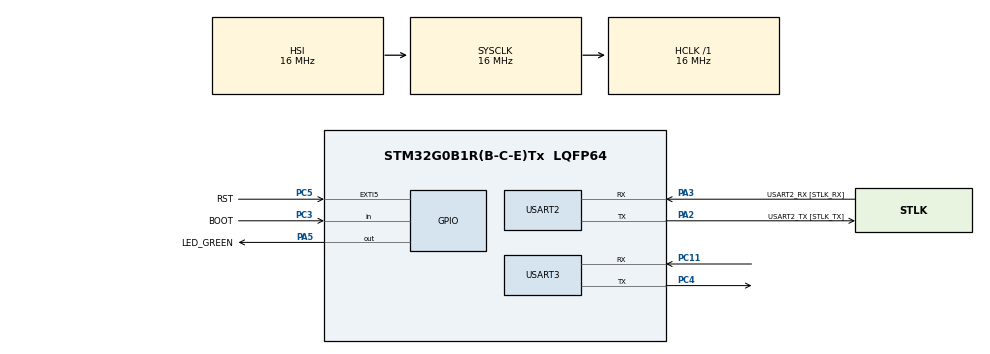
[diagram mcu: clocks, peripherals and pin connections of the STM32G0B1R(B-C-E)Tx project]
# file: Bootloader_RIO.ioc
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Mcu.Family=STM32G0
Mcu.Name=STM32G0B1R(B-C-E)Tx
Mcu.Package=LQFP64
NVIC.EXTI4_15_IRQn=true\:0\:0\:false\:false\:true\:true\:true\:true
NVIC.TIM1_BRK_UP_TRG_COM_IRQn=true\:0\:0\:false\:false\:true\:true\:true\:true
NVIC.TIM1_CC_IRQn=true\:0\:0\:false\:false\:true\:true\:true\:true
NVIC.USART2_LPUART2_IRQn=true\:0\:0\:false\:false\:true\:true\:true\:true
NVIC.USART3_4_5_6_LPUART1_IRQn=true\:0\:0\:false\:false\:true\:true\:true\:true
PA13.GPIO_Label=TMS
PA13.Mode=Serial_Wire
PA13.Signal=SYS_SWDIO
PA14-BOOT0.GPIO_Label=TCK
PA14-BOOT0.Mode=Serial_Wire
PA14-BOOT0.Signal=SYS_SWCLK
PA2.GPIO_Label=USART2_TX [STLK_TX]
PA2.Mode=Asynchronous
PA2.Signal=USART2_TX
PA3.GPIO_Label=USART2_RX [STLK_RX]
PA3.Mode=Asynchronous
PA3.Signal=USART2_RX
PA5.GPIO_Label=LED_GREEN
PA5.GPIO_Speed=GPIO_SPEED_FREQ_HIGH
PA5.Signal=GPIO_Output
PC11.Mode=Asynchronous
PC11.Signal=USART3_RX
PC13.Mode=SYS_WakeUp1
PC13.Signal=SYS_WKUP2
PC14-OSC32_IN\ (PC14).Mode=LSE-External-Oscillator
PC14-OSC32_IN\ (PC14).Signal=RCC_OSC32_IN
PC15-OSC32_OUT\ (PC15).Mode=LSE-External-Oscillator
PC15-OSC32_OUT\ (PC15).Signal=RCC_OSC32_OUT
PC3.GPIO_Label=BOOT
PC3.GPIO_PuPd=GPIO_PULLUP
PC3.Signal=GPIO_Input
PC4.Mode=Asynchronous
PC4.Signal=USART3_TX
PC5.GPIO_Label=RST
PC5.GPIO_ModeDefaultEXTI=GPIO_MODE_IT_FALLING
PC5.Signal=GPXTI5
PF0-OSC_IN\ (PF0).GPIO_Label=MCO
PF0-OSC_IN\ (PF0).Mode=HSE-External-Clock-Source
PF0-OSC_IN\ (PF0).Signal=RCC_OSC_IN
ProjectManager.HeapSize=0x200
ProjectManager.StackSize=0x400
ProjectManager.TargetToolchain=STM32CubeIDE
RCC.AHBFreq_Value=16000000
RCC.CortexFreq_Value=16000000
RCC.EXTERNAL_CLOCK_VALUE=12288000
RCC.HCLKFreq_Value=16000000
RCC.HSE_VALUE=8000000
RCC.HSI48_VALUE=48000000
RCC.HSI_VALUE=16000000
RCC.SYSCLKFreq_VALUE=16000000
RCC.USBFreq_Value=48000000
RCC.VCOOutputFreq_Value=128000000
TIM1.Period=500
TIM1.Prescaler=16000-1
USART2.VirtualMode-Asynchronous=VM_ASYNC
USART3.VirtualMode-Asynchronous=VM_ASYNC
VP_TIM1_VS_ClockSourceINT.Mode=Internal
board=NUCLEO-G0B1RE

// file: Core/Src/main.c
/* USER CODE BEGIN Header */
/**
  ******************************************************************************
  * @file           : main.c
  * @brief          : Main program body
  ******************************************************************************
  * @attention
  *
  * Copyright (c) 2023 STMicroelectronics.
  * All rights reserved.
  *
  * This software is licensed under terms that can be found in the LICENSE file
  * in the root directory of this software component.
  * If no LICENSE file comes with this software, it is provided AS-IS.
  *
  ******************************************************************************
  */
/* USER CODE END Header */
#include "main.h"

/* USER CODE BEGIN Includes */
#include <stdio.h>
#include <stdbool.h>
#include <stdlib.h>
#include <string.h>
#include <math.h>
#include "retarget.h"
#include <inttypes.h>
#include "memoryMap.h"
#include "image.h"
#include "my_memory.h"

#define loader_rom  (0x0800C800)
#define app_rom     (0x08011800)

#define REV32(x) ( ((x&0xff000000)>>24) | (((x&0x00ff0000)<<8)>>16) | (((x&0x0000ff00)>>8)<<16) | ((x&0x000000ff) << 24) )
#define REV16(y) (REV32((uint32_t) y)>>16)

/* USER CODE END Includes */

TIM_HandleTypeDef htim1;

UART_HandleTypeDef huart2;
UART_HandleTypeDef huart3;

void SystemClock_Config(void);
static void MX_GPIO_Init(void);
static void MX_USART2_UART_Init(void);
static void MX_USART3_UART_Init(void);
static void MX_TIM1_Init(void);

/* USER CODE BEGIN 0 */

uint64_t * RDAddr = NULL;
uint64_t double_word = 0;
bool dato_recivido=false, bootloader = false;
uint32_t counter = 0, pages = 0,offset = 0, n_bytes=0,rows = 0;
uint8_t rx_buff[520]={0x00};//
uint32_t FW_SIZE = 0, CRC_16 = 0, index_page = 0;
uint16_t crc = 0,crc_temp = 0;
uint16_t a = 0, boot = 0,timer_flag=0;
uint32_t crc_part = 0;

#define STRINGIFY(x) #x
#define ADD_QUOTES(y) STRINGIFY(y)

void HAL_UARTEx_RxEventCallback(UART_HandleTypeDef *huart, uint16_t Size)
{
	  HAL_UARTEx_ReceiveToIdle_IT(&huart3, rx_buff, sizeof rx_buff);
	  //memcpy(message,rx_buff,4);
	  dato_recivido = true;
	  //counter++;
}

static const uint16_t crc16Table[] = {
  0x0000, 0x1189, 0x2312, 0x329b, 0x4624, 0x57ad, 0x6536, 0x74bf,
  0x8c48, 0x9dc1, 0xaf5a, 0xbed3, 0xca6c, 0xdbe5, 0xe97e, 0xf8f7,
  0x1081, 0x0108, 0x3393, 0x221a, 0x56a5, 0x472c, 0x75b7, 0x643e,
  0x9cc9, 0x8d40, 0xbfdb, 0xae52, 0xdaed, 0xcb64, 0xf9ff, 0xe876,
  0x2102, 0x308b, 0x0210, 0x1399, 0x6726, 0x76af, 0x4434, 0x55bd,
  0xad4a, 0xbcc3, 0x8e58, 0x9fd1, 0xeb6e, 0xfae7, 0xc87c, 0xd9f5,
  0x3183, 0x200a, 0x1291, 0x0318, 0x77a7, 0x662e, 0x54b5, 0x453c,
  0xbdcb, 0xac42, 0x9ed9, 0x8f50, 0xfbef, 0xea66, 0xd8fd, 0xc974,
  0x4204, 0x538d, 0x6116, 0x709f, 0x0420, 0x15a9, 0x2732, 0x36bb,
  0xce4c, 0xdfc5, 0xed5e, 0xfcd7, 0x8868, 0x99e1, 0xab7a, 0xbaf3,
  0x5285, 0x430c, 0x7197, 0x601e, 0x14a1, 0x0528, 0x37b3, 0x263a,
  0xdecd, 0xcf44, 0xfddf, 0xec56, 0x98e9, 0x8960, 0xbbfb, 0xaa72,
  0x6306, 0x728f, 0x4014, 0x519d, 0x2522, 0x34ab, 0x0630, 0x17b9,
  0xef4e, 0xfec7, 0xcc5c, 0xddd5, 0xa96a, 0xb8e3, 0x8a78, 0x9bf1,
  0x7387, 0x620e, 0x5095, 0x411c, 0x35a3, 0x242a, 0x16b1, 0x0738,
  0xffcf, 0xee46, 0xdcdd, 0xcd54, 0xb9eb, 0xa862, 0x9af9, 0x8b70,
  0x8408, 0x9581, 0xa71a, 0xb693, 0xc22c, 0xd3a5, 0xe13e, 0xf0b7,
  0x0840, 0x19c9, 0x2b52, 0x3adb, 0x4e64, 0x5fed, 0x6d76, 0x7cff,
  0x9489, 0x8500, 0xb79b, 0xa612, 0xd2ad, 0xc324, 0xf1bf, 0xe036,
  0x18c1, 0x0948, 0x3bd3, 0x2a5a, 0x5ee5, 0x4f6c, 0x7df7, 0x6c7e,
  0xa50a, 0xb483, 0x8618, 0x9791, 0xe32e, 0xf2a7, 0xc03c, 0xd1b5,
  0x2942, 0x38cb, 0x0a50, 0x1bd9, 0x6f66, 0x7eef, 0x4c74, 0x5dfd,
  0xb58b, 0xa402, 0x9699, 0x8710, 0xf3af, 0xe226, 0xd0bd, 0xc134,
  0x39c3, 0x284a, 0x1ad1, 0x0b58, 0x7fe7, 0x6e6e, 0x5cf5, 0x4d7c,
  0xc60c, 0xd785, 0xe51e, 0xf497, 0x8028, 0x91a1, 0xa33a, 0xb2b3,
  0x4a44, 0x5bcd, 0x6956, 0x78df, 0x0c60, 0x1de9, 0x2f72, 0x3efb,
  0xd68d, 0xc704, 0xf59f, 0xe416, 0x90a9, 0x8120, 0xb3bb, 0xa232,
  0x5ac5, 0x4b4c, 0x79d7, 0x685e, 0x1ce1, 0x0d68, 0x3ff3, 0x2e7a,
  0xe70e, 0xf687, 0xc41c, 0xd595, 0xa12a, 0xb0a3, 0x8238, 0x93b1,
  0x6b46, 0x7acf, 0x4854, 0x59dd, 0x2d62, 0x3ceb, 0x0e70, 0x1ff9,
  0xf78f, 0xe606, 0xd49d, 0xc514, 0xb1ab, 0xa022, 0x92b9, 0x8330,
  0x7bc7, 0x6a4e, 0x58d5, 0x495c, 0x3de3, 0x2c6a, 0x1ef1, 0x0f78
};

uint16_t CRC16_X25(const void * data, uint16_t sizeOfData, uint16_t startCrc)
{
	  const uint8_t * dataPtr = (const uint8_t *) data;

	  startCrc = startCrc ^ 0xffff;

	  while (sizeOfData--) {
	    startCrc = crc16Table[(startCrc ^ *dataPtr++) & 0xFF] ^ (startCrc >> 8);
	  }

	  return (startCrc ^ 0xffff);
}

void HAL_GPIO_EXTI_Falling_Callback(uint16_t GPIO_Pin)
{
	  if(GPIO_Pin == RST_Pin)
	  {
			HAL_NVIC_SystemReset(); //resetea el uC
	  }// End LTC interrup
}

uint32_t write(uint8_t *data,uint32_t begin)
{
	uint32_t end = begin+64;// return the address to next 512 bytes
	uint32_t _index;
	uint16_t k = 0;
	HAL_FLASH_Unlock();
	for(uint32_t i = begin; i<end; i++)// 64*8 = 512 bytes
	{
	  _index = 8*i;
	  memset(&double_word,0xFF,8);
	  memcpy(&double_word,&data[k],8);
	  HAL_FLASH_Program(FLASH_TYPEPROGRAM_DOUBLEWORD,loader_rom+_index,double_word);
	  k+=8;
	}
	HAL_FLASH_Lock();
	return end;
}

void clear_rom(uint32_t bank,uint32_t page,uint32_t nbpages)
{
	  //clear nbpages, starting with page
	  uint32_t page_error = 0;
	  FLASH_EraseInitTypeDef EraseInitStruct;
	  EraseInitStruct.TypeErase= FLASH_TYPEERASE_PAGES;// works with page
	  EraseInitStruct.Banks = bank;
	  EraseInitStruct.Page = page;// start page
	  EraseInitStruct.NbPages= nbpages; // end page

	  HAL_FLASH_Unlock();
	  HAL_FLASHEx_Erase(&EraseInitStruct,&page_error);
	  HAL_FLASH_Lock();
}

void print_double_word(uint32_t Address,uint64_t *doubleword)
{
	uint8_t *ptr = (uint8_t*)doubleword;
	  	  printf("\r Address: %08lX, Data:  ",Address);
	  	  for(uint8_t k = 0; k < 8; k++)
	  		  printf("%02X",*(ptr++));
	  	  printf("|\r\r\n");
}

uint32_t clone_rom(uint32_t Firmware_zise)
{
	uint32_t rows = Firmware_zise/8;
	uint32_t offset = Firmware_zise%8;
	uint32_t _index = 0;
	HAL_FLASH_Unlock();
    for(uint32_t i = 0; i<=rows-1; i++)// 12288 /8 -1 = =rows,   11532/8 =
    {
  	  _index = 8*i;
  	  RDAddr = (uint64_t *)(loader_rom + _index);
  	  memset(&double_word,0xFF,8);
  	  memcpy(&double_word,RDAddr,8);
  	  HAL_FLASH_Program(FLASH_TYPEPROGRAM_DOUBLEWORD,app_rom+_index,double_word);
  	  crc_temp = CRC16_X25(RDAddr, 8, crc_temp);
	  //printf(" \r crc parts_app_rom: %04X \n",crc_temp);
	  //print_double_word(__loader_rom_start__+_index,&double_word);
    }
    if(offset!=0)
    {
    	memset(&double_word,0xFF,8);
		_index+= 8;
		RDAddr = (uint64_t *)(loader_rom + _index);
		memset(&double_word,0xFF,8);
		memcpy(&double_word,RDAddr,offset);
		HAL_FLASH_Program(FLASH_TYPEPROGRAM_DOUBLEWORD,app_rom+_index,double_word);
		crc_temp = CRC16_X25(&double_word,offset, crc_temp);
		//printf(" \r crc parts_app_rom: %04X \n",crc_temp);
		//print_double_word(__loader_rom_start__+_index,&double_word);
    }
    HAL_FLASH_Lock();

    if(crc_temp == CRC_16)
   		return 0;
    else
    	return 1;
}

void wait(void)
{
	 while(dato_recivido == false)
	 {
		 printf("\r waiting... \r\n");
		 HAL_Delay(100);
	 }
}

uint32_t update_firmware (void)
{
	 int err = 0;

	 HAL_UART_Transmit(&huart3,"FZ", sizeof("FZ"),500);// begin
	 printf("\r Send FZ ... \r\n");
	 wait();
	 dato_recivido = false;

	memcpy(&FW_SIZE,&rx_buff[0],4);
	memcpy(&CRC_16,&rx_buff[4],4);
	FW_SIZE = REV32(FW_SIZE);
	CRC_16 = REV32(CRC_16);
	pages = (uint32_t)(FW_SIZE/512);
	n_bytes = 512*pages;
	offset = FW_SIZE - n_bytes;
	printf(" \r fw_size: %lX \n",FW_SIZE);
	printf(" \r crc_app: %lX \n",CRC_16);
	printf(" \r pages: %ld \n",pages);
	printf(" \r n_bytes: %ld \n",n_bytes);
	printf(" \r offset: %ld \n",offset);
	HAL_UART_Transmit(&huart3,"OK", sizeof("OK"),500);
	memset(rx_buff,'\0',sizeof(rx_buff));
	wait();
	 dato_recivido = false;

	for(int i =0; i<pages; i++)
	{
		memcpy(&index_page,&rx_buff[0],4);
		memcpy(&crc_part,&rx_buff[4],4);
		index_page = REV32(index_page);
		crc_part = REV32(crc_part);
		printf(" \r index: %lX \n",index_page);
		printf(" \r crc_part: %lX \n",crc_part);
		crc = CRC16_X25(&rx_buff[8], 512, crc);
		if(crc == crc_part)
		{
			a = write(&rx_buff[8],a);
			printf(" \r crc: %X \n",crc);
			HAL_UART_Transmit(&huart3,"OK", sizeof("OK"),500);
			memset(rx_buff,'\0',sizeof(rx_buff));
			wait();
			dato_recivido = false;
			err = 0;
		}
		else
		{
			err = 1;
			break;
		}

	}// end for
	if(err != 1)
	{
		printf(" \r --------------Last Page ----------- \n");
		memcpy(&index_page,&rx_buff[0],4);
		memcpy(&crc_part,&rx_buff[4],4);
		index_page = REV32(index_page);
		crc_part = REV32(crc_part);
		printf(" \r index: %lX \n",index_page);
		printf(" \r crc_part: %lX \n",crc_part);
		crc = CRC16_X25(&rx_buff[8], offset, crc);

		if(crc == crc_part)
		{
			a = write(&rx_buff[8],a);
			memset(rx_buff,'\0',sizeof(rx_buff));
			printf(" \r crc parts: %04X \n",crc);
			printf(" \r CRC Blink: %lX \n",CRC_16);//do
		}
	}
//---------------- Validate -------------------------
	const image_hdr_t *hdr = NULL;
	hdr = image_get_header(IMAGE_SLOT_2);//magic
	if (hdr == NULL)
	{
		printf("Magic incorrect \r\n");
		return -1;
	}
	if (image_validate(IMAGE_SLOT_2, hdr) != 0)//crc
	{
		printf("CRC incorrect \r\n");
		return -1;
	}
// -------------------------- Clone ----------------------------
	err = clone_rom(FW_SIZE);
	if ( err == 0)
	{
		printf("UPDATE SUCCESSFULLY\r\n");
		return err;
	}
	else
	{
		printf("UPDATE FAIL\r\n");
		return err;
	}

}/// get_Firmware()

__attribute__( (naked, noreturn) ) static void BootJumpASM(uint32_t PC, uint32_t SP) {
	__asm("           \n\
			msr msp, r1 /* load r1 into MSP */\n\
			bx r0       /* branch to the address at r0 */\n\
	");
}

static void image_start(const image_hdr_t *hdr) {
    uint8_t i = 0;
	/* Disable interrupts */
	//Disable IRQ
	__disable_irq();

	//Disable the system timer
	SysTick->CTRL = 0;

	//Clear the exception pending bit
	SCB->ICSR |= SCB_ICSR_PENDSTCLR_Msk ;

	//Disable IRQs
    for (i = 0; i < 8; i++) {
        NVIC->ICER[i] = 0xFFFFFFFF; // disable IRQ
        NVIC->ICPR[i] = 0xFFFFFFFF; // clear pending IRQ
    }

	/* Modify vector table location */
	//Barriers
	__DSB();
	__ISB();

	//const DeviceVectors *vectors = (const DeviceVectors *) hdr->vector_addr;
	uint32_t *isr = (uint32_t *)hdr->vector_addr;
    SCB->VTOR = (uint32_t)isr & SCB_VTOR_TBLOFF_Msk;
    //SCB->VTOR = 0x0800F820;
    //0x800f820

		//Barriers
	__DSB();
	__ISB();

	/* Enable interrrupts */
	__enable_irq();

    BootJumpASM(isr[1], isr[0]);
	/* Execute application */
    __builtin_unreachable();
}

int  __attribute__((section(".shared_mem")))contador = 0;

/* USER CODE END 0 */

int main(void)
{

  /* MCU Configuration--------------------------------------------------------*/

  /* Reset of all peripherals, Initializes the Flash interface and the Systick. */
  HAL_Init();

  /* Configure the system clock */
  SystemClock_Config();

  /* Initialize all configured peripherals */
  MX_GPIO_Init();
  MX_USART2_UART_Init();
  MX_USART3_UART_Init();
  MX_TIM1_Init();
  /* USER CODE BEGIN 2 */
   RetargetInit(&huart2);
   HAL_UARTEx_ReceiveToIdle_IT(&huart3, rx_buff, sizeof rx_buff);

  /* USER CODE END 2 */

  /* Infinite loop */
  /* USER CODE BEGIN WHILE */

	shared_memory_init();
	timer_flag = 0;
	HAL_TIM_Base_Start_IT(&htim1);

	while (1)
	{
		HAL_Delay(10);
		boot = HAL_GPIO_ReadPin(GPIOC, GPIO_PIN_3);// 1/0
		printf("\r boot: %d \r\n",boot);
		bootloader = timer_flag & boot;
		if(bootloader)
		{
			printf(" \r App \r\n");
			HAL_TIM_Base_Stop_IT(&htim1);
			shared_mem_set_app_update_requested(false);
		}
		else
		{
			printf(" \r Bootloader \r\n");
			HAL_TIM_Base_Stop_IT(&htim1);
			shared_mem_set_app_update_requested(true);
		}

		const image_hdr_t *hdr = NULL;

		if (shared_mem_is_bl_upd_requested()) {
			hdr = image_get_header(IMAGE_SLOT_2); // get address y magic

		// Load the updater (apparom)
		if (hdr == NULL)
		{
			printf("No image found in slot 2\r\n");
		}
		else
		{
			if (image_validate(IMAGE_SLOT_2, hdr) != 0) {// addr =  &__loader_rom_start__ + sizeof(image_hdr_t), len -> crc(add, len)
				//Mismatch on crc
			}
		}
		//ioport_set_pin_level(RED_LED, false);
		//ioport_set_pin_level(GREEN_LED, false);
		//ioport_set_pin_level(BLUE_LED, false);

		printf("Jumping to updater\r\n");
		shared_mem_increment_boot_counter();
		//printf("Boot count: %d \r\n",shared_mem_get_boot_counter());
		image_start(hdr);

	}

	if (!shared_mem_is_app_upd_requested()) {
		// Boot count, maybe not neccessary or implement a better thing to handle this
		const uint8_t max_boot_attemps = 4;
		if (shared_mem_get_boot_counter() >= max_boot_attemps)
		{
			shared_mem_clear_boot_counter();
			printf("App unstable, entering to DFU mode\r\n");
			break;
		}

		hdr = image_get_header(IMAGE_SLOT_1);// get address y magic

		// Load the app (apparom)
		if (hdr == NULL)
		{
			printf("No image found in slot 1\r\n");
			goto invalid;
			break;
		}

		if (image_validate(IMAGE_SLOT_1, hdr) != 0) { // addr =  &__loader_rom_start__ + sizeof(image_hdr_t), len -> crc(add, len)
			//CRC mismatch
			goto invalid;
			break;
		}

		//ioport_set_pin_level(RED_LED, false);
		//ioport_set_pin_level(GREEN_LED, false);
		//ioport_set_pin_level(BLUE_LED, false);

		printf("Jumping to application\r\n\n");
		shared_mem_increment_boot_counter();
		//printf("Boot count: %d \r\n",shared_mem_get_boot_counter());
		image_start(hdr);
	}

	else if (shared_mem_is_app_upd_requested())
	{
		// Update app

		if (update_firmware() == 0)
		{
			//Clean the variables
			printf("Update completed, restarting\r\n");

			shared_mem_set_update_completed();
			shared_mem_clear_boot_counter();
			shared_mem_clear_ota_info();
			shared_mem_set_app_update_requested(false);
			shared_mem_set_update();
			printf("\r shared_mem_get_update: %d \r\n",shared_mem_get_update());
			HAL_NVIC_SystemReset(); //resetea el uC
		}
	}

    /* USER CODE END WHILE */

    /* USER CODE BEGIN 3 */
  }//end while
	HAL_NVIC_SystemReset(); //resetea el uC

	invalid:
		printf("\r\nFlash a valid application\r\n");
		while (true)
		{
			__asm__ __volatile__("");
		}

  /* USER CODE END 3 */
}

void SystemClock_Config(void)
{
  RCC_OscInitTypeDef RCC_OscInitStruct = {0};
  RCC_ClkInitTypeDef RCC_ClkInitStruct = {0};

  /** Configure the main internal regulator output voltage
  */
  HAL_PWREx_ControlVoltageScaling(PWR_REGULATOR_VOLTAGE_SCALE1);

  /** Initializes the RCC Oscillators according to the specified parameters
  * in the RCC_OscInitTypeDef structure.
  */
  RCC_OscInitStruct.OscillatorType = RCC_OSCILLATORTYPE_HSI;
  RCC_OscInitStruct.HSIState = RCC_HSI_ON;
  RCC_OscInitStruct.HSIDiv = RCC_HSI_DIV1;
  RCC_OscInitStruct.HSICalibrationValue = RCC_HSICALIBRATION_DEFAULT;
  RCC_OscInitStruct.PLL.PLLState = RCC_PLL_NONE;
  if (HAL_RCC_OscConfig(&RCC_OscInitStruct) != HAL_OK)
  {
    Error_Handler();
  }

  /** Initializes the CPU, AHB and APB buses clocks
  */
  RCC_ClkInitStruct.ClockType = RCC_CLOCKTYPE_HCLK|RCC_CLOCKTYPE_SYSCLK
                              |RCC_CLOCKTYPE_PCLK1;
  RCC_ClkInitStruct.SYSCLKSource = RCC_SYSCLKSOURCE_HSI;
  RCC_ClkInitStruct.AHBCLKDivider = RCC_SYSCLK_DIV1;
  RCC_ClkInitStruct.APB1CLKDivider = RCC_HCLK_DIV1;

  if (HAL_RCC_ClockConfig(&RCC_ClkInitStruct, FLASH_LATENCY_0) != HAL_OK)
  {
    Error_Handler();
  }
}

static void MX_TIM1_Init(void)
{

  TIM_ClockConfigTypeDef sClockSourceConfig = {0};
  TIM_MasterConfigTypeDef sMasterConfig = {0};

  htim1.Instance = TIM1;
  htim1.Init.Prescaler = 16000-1;
  htim1.Init.CounterMode = TIM_COUNTERMODE_UP;
  htim1.Init.Period = 500;
  htim1.Init.ClockDivision = TIM_CLOCKDIVISION_DIV1;
  htim1.Init.RepetitionCounter = 0;
  htim1.Init.AutoReloadPreload = TIM_AUTORELOAD_PRELOAD_DISABLE;
  if (HAL_TIM_Base_Init(&htim1) != HAL_OK)
  {
    Error_Handler();
  }
  sClockSourceConfig.ClockSource = TIM_CLOCKSOURCE_INTERNAL;
  if (HAL_TIM_ConfigClockSource(&htim1, &sClockSourceConfig) != HAL_OK)
  {
    Error_Handler();
  }
  sMasterConfig.MasterOutputTrigger = TIM_TRGO_RESET;
  sMasterConfig.MasterOutputTrigger2 = TIM_TRGO2_RESET;
  sMasterConfig.MasterSlaveMode = TIM_MASTERSLAVEMODE_DISABLE;
  if (HAL_TIMEx_MasterConfigSynchronization(&htim1, &sMasterConfig) != HAL_OK)
  {
    Error_Handler();
  }

}

static void MX_USART2_UART_Init(void)
{

  huart2.Instance = USART2;
  huart2.Init.BaudRate = 115200;
  huart2.Init.WordLength = UART_WORDLENGTH_8B;
  huart2.Init.StopBits = UART_STOPBITS_1;
  huart2.Init.Parity = UART_PARITY_NONE;
  huart2.Init.Mode = UART_MODE_TX_RX;
  huart2.Init.HwFlowCtl = UART_HWCONTROL_NONE;
  huart2.Init.OverSampling = UART_OVERSAMPLING_16;
  huart2.Init.OneBitSampling = UART_ONE_BIT_SAMPLE_DISABLE;
  huart2.Init.ClockPrescaler = UART_PRESCALER_DIV1;
  huart2.AdvancedInit.AdvFeatureInit = UART_ADVFEATURE_NO_INIT;
  if (HAL_UART_Init(&huart2) != HAL_OK)
  {
    Error_Handler();
  }
  if (HAL_UARTEx_SetTxFifoThreshold(&huart2, UART_TXFIFO_THRESHOLD_1_8) != HAL_OK)
  {
    Error_Handler();
  }
  if (HAL_UARTEx_SetRxFifoThreshold(&huart2, UART_RXFIFO_THRESHOLD_1_8) != HAL_OK)
  {
    Error_Handler();
  }
  if (HAL_UARTEx_DisableFifoMode(&huart2) != HAL_OK)
  {
    Error_Handler();
  }

}

static void MX_USART3_UART_Init(void)
{

  huart3.Instance = USART3;
  huart3.Init.BaudRate = 115200;
  huart3.Init.WordLength = UART_WORDLENGTH_8B;
  huart3.Init.StopBits = UART_STOPBITS_1;
  huart3.Init.Parity = UART_PARITY_NONE;
  huart3.Init.Mode = UART_MODE_TX_RX;
  huart3.Init.HwFlowCtl = UART_HWCONTROL_NONE;
  huart3.Init.OverSampling = UART_OVERSAMPLING_16;
  huart3.Init.OneBitSampling = UART_ONE_BIT_SAMPLE_DISABLE;
  huart3.Init.ClockPrescaler = UART_PRESCALER_DIV1;
  huart3.AdvancedInit.AdvFeatureInit = UART_ADVFEATURE_NO_INIT;
  if (HAL_UART_Init(&huart3) != HAL_OK)
  {
    Error_Handler();
  }
  if (HAL_UARTEx_SetTxFifoThreshold(&huart3, UART_TXFIFO_THRESHOLD_1_8) != HAL_OK)
  {
    Error_Handler();
  }
  if (HAL_UARTEx_SetRxFifoThreshold(&huart3, UART_RXFIFO_THRESHOLD_1_8) != HAL_OK)
  {
    Error_Handler();
  }
  if (HAL_UARTEx_DisableFifoMode(&huart3) != HAL_OK)
  {
    Error_Handler();
  }

}

static void MX_GPIO_Init(void)
{
  GPIO_InitTypeDef GPIO_InitStruct = {0};

  /* GPIO Ports Clock Enable */
  __HAL_RCC_GPIOC_CLK_ENABLE();
  __HAL_RCC_GPIOF_CLK_ENABLE();
  __HAL_RCC_GPIOA_CLK_ENABLE();

  /*Configure GPIO pin Output Level */
  HAL_GPIO_WritePin(LED_GREEN_GPIO_Port, LED_GREEN_Pin, GPIO_PIN_RESET);

  /*Configure GPIO pin : BOOT_Pin */
  GPIO_InitStruct.Pin = BOOT_Pin;
  GPIO_InitStruct.Mode = GPIO_MODE_INPUT;
  GPIO_InitStruct.Pull = GPIO_PULLUP;
  HAL_GPIO_Init(BOOT_GPIO_Port, &GPIO_InitStruct);

  /*Configure GPIO pin : LED_GREEN_Pin */
  GPIO_InitStruct.Pin = LED_GREEN_Pin;
  GPIO_InitStruct.Mode = GPIO_MODE_OUTPUT_PP;
  GPIO_InitStruct.Pull = GPIO_NOPULL;
  GPIO_InitStruct.Speed = GPIO_SPEED_FREQ_HIGH;
  HAL_GPIO_Init(LED_GREEN_GPIO_Port, &GPIO_InitStruct);

  /*Configure GPIO pin : RST_Pin */
  GPIO_InitStruct.Pin = RST_Pin;
  GPIO_InitStruct.Mode = GPIO_MODE_IT_FALLING;
  GPIO_InitStruct.Pull = GPIO_NOPULL;
  HAL_GPIO_Init(RST_GPIO_Port, &GPIO_InitStruct);

  /* EXTI interrupt init*/
  HAL_NVIC_SetPriority(EXTI4_15_IRQn, 0, 0);
  HAL_NVIC_EnableIRQ(EXTI4_15_IRQn);

}

/* USER CODE BEGIN 4 */
void HAL_TIM_PeriodElapsedCallback(TIM_HandleTypeDef *htim)
{
	if(htim->Instance == TIM1)
	  {
		timer_flag = 1 ;
	  }
}
//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
//token 90days
/* USER CODE END 4 */

void Error_Handler(void)
{
  __disable_irq();
  while (1)
  {
  }
}
